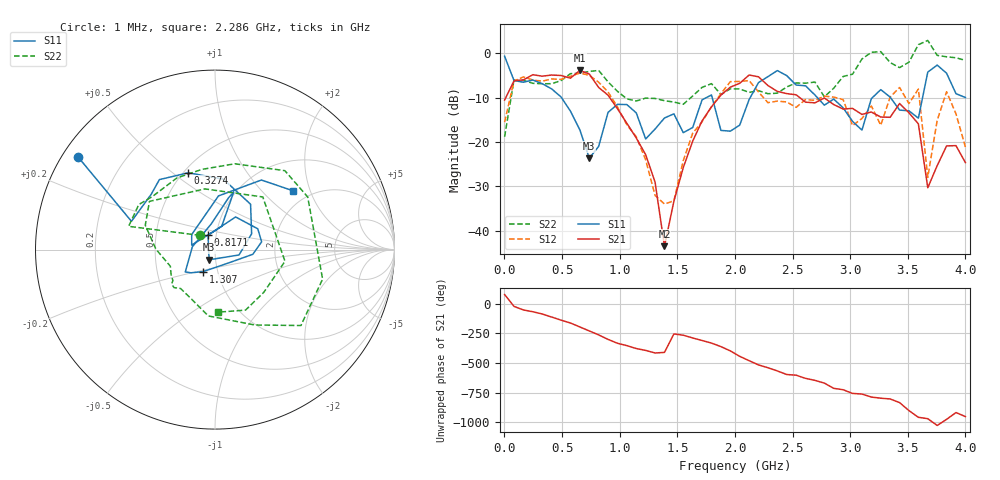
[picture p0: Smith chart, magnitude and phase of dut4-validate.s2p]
!Created with skrf (http://scikit-rf.org).
# GHz S DB R 50.0
!freq dBS11 angS11 dBS21 angS21 dBS12 angS12 dBS22 angS22
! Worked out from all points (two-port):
!   50 points, 1 MHz to 4 GHz, reference 50 ohm
!   highest |S21| = -3.91 dB at 653.9 MHz (marker M1); lowest = -43.5 dB at 1.388 GHz (marker M2)
!   |S21| within 3 dB of the highest: 70.05 MHz to 795.1 MHz (725.1 MHz wide, 168 % of centre); 2.031 GHz to 2.27 GHz (239.6 MHz wide, 11.1 % of centre)
!   lowest |S11| = -23.6 dB at 735.5 MHz (marker M3), VSWR 1.14, Z = 46.5 - j5.31 ohm
!   |S11| at or under -10 dB: 494.2 MHz to 1.753 GHz (1.259 GHz wide, 112 % of centre); 1.802 GHz to 2.133 GHz (330.5 MHz wide, 16.8 % of centre); 2.715 GHz to 3.194 GHz (479 MHz wide, 16.2 % of centre)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
!   |S22| runs from -18.8 to 2.9 dB; largest |S21 - S12| = 0.42
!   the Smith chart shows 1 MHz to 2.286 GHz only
!   S11 on the Smith chart (normalised r, x): 1 MHz: 0.04, +0.31; 327.4 MHz: 0.53, +0.57; 817.1 MHz: 0.91, +0.15; 1.307 GHz: 0.85, -0.21; 2.286 GHz: 1.64, +1.53
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0.001  -0.71 145.9  -10.57 79.7  -15.53 -49.6  -18.84 136.2
0.08261224  -6.17 161.3  -6.24 -20.5  -6.25 -22.4  -6.05 164.9
0.327449  -6.88 109.2  -5.20 -85.0  -6.32 -85.5  -6.90 118.0
0.653898  -17.27 -12.6  -3.91 165.3  -4.48 164.7  -4.53 29.6
0.7355102  -23.64 -120.1  -4.69 132.0  -5.00 115.9  -4.13 -15.3
0.8171224  -21.02 115.8  -7.73 98.1  -6.54 86.6  -3.89 -41.5
0.9803469  -11.53 25.9  -12.51 27.3  -12.11 32.1  -8.60 -95.7
1.306796  -17.10 -118.5  -29.05 -54.9  -32.05 -53.3  -10.20 -141.6
1.388408  -14.61 -136.0  -43.47 -50.3  -33.98 -117.8  -10.72 -143.7
1.796469  -9.42 72.0  -12.08 28.7  -12.09 33.6  -6.87 143.6
1.878082  -17.40 74.0  -9.47 -0.9  -9.14 2.6  -9.30 99.5
2.041306  -16.22 147.1  -6.79 -83.3  -6.38 -90.6  -8.06 -9.5
2.286143  -5.30 37.2  -7.29 -179.8  -11.16 177.8  -9.14 -87.4
2.694204  -9.42 -40.7  -11.20 73.2  -10.63 94.3  -6.51 -171.2
2.857429  -10.36 -76.2  -11.59 5.5  -9.90 40.1  -7.90 -141.1
3.102265  -17.34 -175.2  -13.81 -42.4  -14.72 -47.7  -1.32 167.6
3.347102  -9.91 118.8  -14.45 -84.2  -9.90 -93.8  -2.12 145.0
3.510327  -13.00 -37.1  -13.45 177.1  -11.36 -179.5  -2.03 133.2
3.591939  -14.64 162.8  -15.92 120.5  -8.08 156.3  1.90 134.8
3.673551  -4.28 91.8  -30.32 108.8  -27.97 29.2  2.85 139.2
3.836776  -4.52 59.3  -20.89 103.2  -8.70 -143.0  -0.82 90.7
4  -9.99 -12.0  -24.65 126.5  -21.13 48.8  -1.63 50.8
